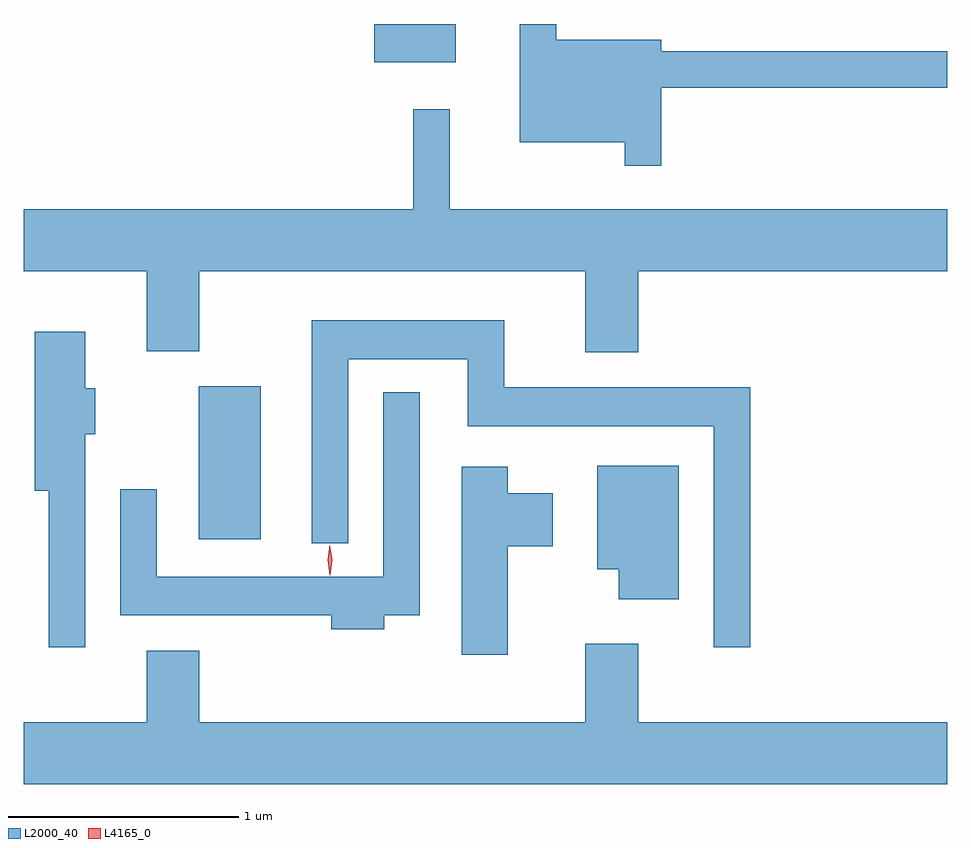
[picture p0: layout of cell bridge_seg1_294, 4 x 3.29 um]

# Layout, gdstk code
import gdstk
lib = gdstk.Library(unit=1e-6, precision=1e-09)
def R(c, l, rs):  # rectangles x0, y0, x1, y1
    for r in rs: c.add(gdstk.rectangle(r[:2], r[2:], *l))
def P(c, l, *ps):  # polygons
    for p in ps: c.add(gdstk.Polygon(p, *l))
L2000_40 = (2000, 40)
L4165_0 = (4165, 0)

bridge_seg1_294 = lib.new_cell('bridge_seg1_294')
R(bridge_seg1_294, L2000_40, [(876.456,873.996,876.724,874.659), (877.216,876.061,877.569,876.227)])
P(bridge_seg1_294, L2000_40, [(878.459,875.951),(879.698,875.951),(879.698,876.109),(878.459,876.109),(878.459,876.159),(878.004,876.159),(878.004,876.227),(877.846,876.227),(877.846,875.716),(878.301,875.716),(878.301,875.613),(878.459,875.613)],
  [(878.359,875.156),(879.698,875.156),(879.698,875.424),(877.544,875.424),(877.544,875.858),(877.386,875.858),(877.386,875.424),(875.698,875.424),(875.698,875.156),(876.231,875.156),(876.231,874.811),(876.459,874.811),(876.459,875.156),(878.131,875.156),(878.131,874.806),(878.359,874.806)],
  [(878.844,874.654),(877.779,874.654),(877.779,874.944),(876.946,874.944),(876.946,873.978),(877.104,873.978),(877.104,874.776),(877.621,874.776),(877.621,874.486),(878.686,874.486),(878.686,873.528),(878.844,873.528)],
  [(875.964,874.451),(876.009,874.451),(876.009,874.649),(875.964,874.649),(875.964,874.894),(875.746,874.894),(875.746,874.206),(875.806,874.206),(875.806,873.528),(875.964,873.528)],
  [(877.259,873.666),(877.414,873.666),(877.414,874.633),(877.256,874.633),(877.256,873.834),(876.274,873.834),(876.274,874.213),(876.116,874.213),(876.116,873.666),(877.031,873.666),(877.031,873.606),(877.259,873.606)],
  [(878.534,874.314),(878.181,874.314),(878.181,873.866),(878.276,873.866),(878.276,873.736),(878.534,873.736)],
  [(877.794,873.966),(877.989,873.966),(877.989,874.194),(877.794,874.194),(877.794,874.309),(877.596,874.309),(877.596,873.496),(877.794,873.496)],
  [(879.698,873.204),(878.359,873.204),(878.359,873.544),(878.131,873.544),(878.131,873.204),(876.459,873.204),(876.459,873.514),(876.231,873.514),(876.231,873.204),(875.698,873.204),(875.698,872.936),(879.698,872.936)])
P(bridge_seg1_294, L4165_0, [(877.024,873.84),(877.024,873.84),(877.014,873.906),(877.023,873.972),(877.024,873.973),(877.024,873.972),(877.034,873.906),(877.025,873.84)])

lib.write_gds('bridge_seg1_294.gds')
